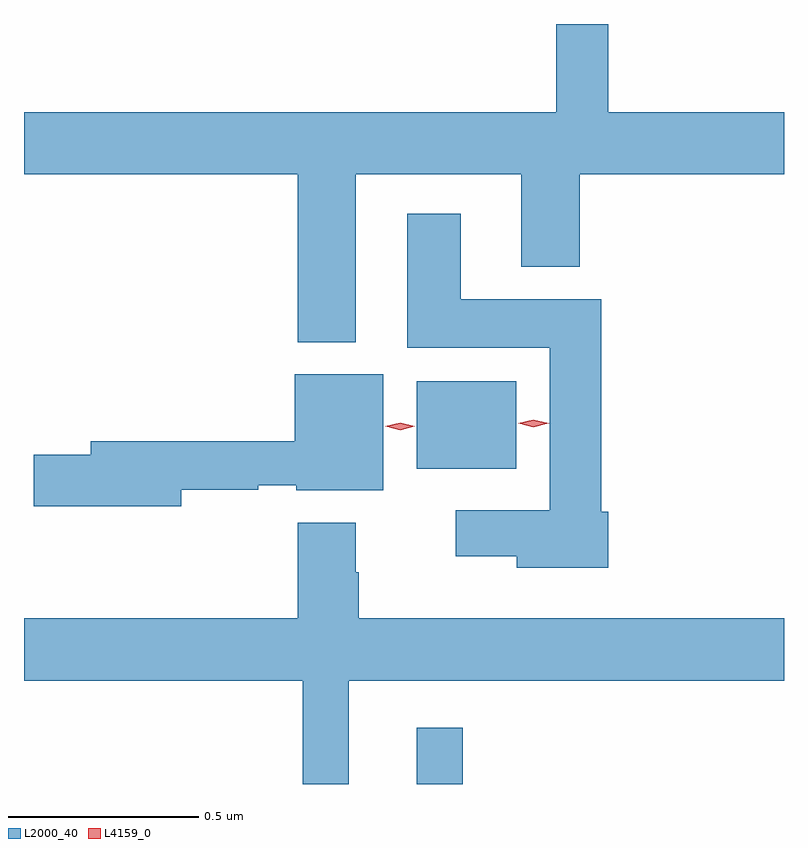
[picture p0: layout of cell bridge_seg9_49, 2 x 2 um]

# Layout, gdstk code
import gdstk
lib = gdstk.Library(unit=1e-6, precision=1e-09)
def R(c, l, rs):  # rectangles x0, y0, x1, y1
    for r in rs: c.add(gdstk.rectangle(r[:2], r[2:], *l))
def P(c, l, *ps):  # polygons
    for p in ps: c.add(gdstk.Polygon(p, *l))
L2000_40 = (2000, 40)
L4159_0 = (4159, 0)

bridge_seg9_49 = lib.new_cell('bridge_seg9_49')
R(bridge_seg9_49, L2000_40, [(907.157,1186.824,907.279,1186.972), (907.157,1187.654,907.42,1187.884)])
P(bridge_seg9_49, L2000_40, [(906.997,1188.428),(907.433,1188.428),(907.433,1188.185),(907.586,1188.185),(907.586,1188.428),(908.124,1188.428),(908.124,1188.592),(907.661,1188.592),(907.661,1188.824),(907.525,1188.824),(907.525,1188.592),(906.124,1188.592),(906.124,1188.428),(906.845,1188.428),(906.845,1187.987),(906.997,1187.987)],
  [(907.661,1187.541),(907.643,1187.541),(907.643,1188.1),(907.273,1188.1),(907.273,1188.325),(907.133,1188.325),(907.133,1187.972),(907.508,1187.972),(907.508,1187.545),(907.26,1187.545),(907.26,1187.423),(907.421,1187.423),(907.421,1187.393),(907.661,1187.393)],
  [(906.538,1187.598),(906.74,1187.598),(906.74,1187.61),(906.84,1187.61),(906.84,1187.597),(907.069,1187.597),(907.069,1187.902),(906.836,1187.902),(906.836,1187.726),(906.299,1187.726),(906.299,1187.69),(906.15,1187.69),(906.15,1187.555),(906.538,1187.555)],
  [(906.979,1187.096),(908.124,1187.096),(908.124,1187.26),(907.005,1187.26),(907.005,1187.381),(906.997,1187.381),(906.997,1187.512),(906.845,1187.512),(906.845,1187.26),(906.124,1187.26),(906.124,1187.096),(906.858,1187.096),(906.858,1186.824),(906.979,1186.824)])
P(bridge_seg9_49, L4159_0, [(907.464,1187.763),(907.424,1187.773),(907.423,1187.773),(907.424,1187.773),(907.464,1187.783),(907.505,1187.773),(907.506,1187.773),(907.505,1187.773)],
  [(907.114,1187.755),(907.075,1187.765),(907.075,1187.765),(907.075,1187.765),(907.114,1187.775),(907.152,1187.765),(907.152,1187.765),(907.152,1187.765)])

lib.write_gds('bridge_seg9_49.gds')
